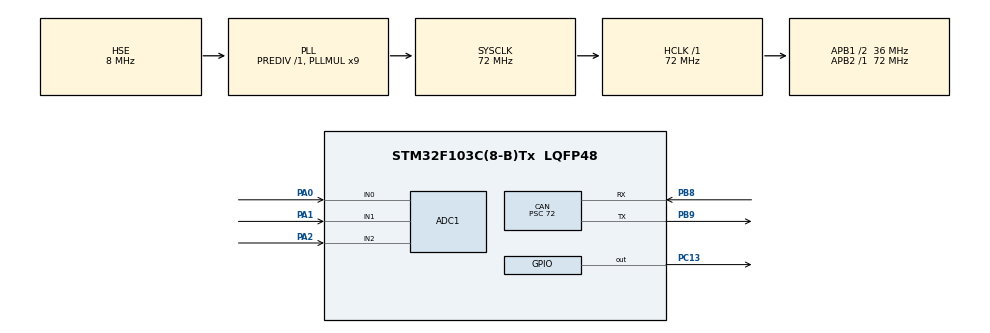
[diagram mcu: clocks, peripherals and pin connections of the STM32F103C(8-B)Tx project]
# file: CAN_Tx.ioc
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ADC1.Channel-0\#ChannelRegularConversion=ADC_CHANNEL_0
ADC1.NbrOfConversionFlag=1
ADC1.Rank-0\#ChannelRegularConversion=1
ADC1.SamplingTime-0\#ChannelRegularConversion=ADC_SAMPLETIME_1CYCLE_5
ADC1.master=1
CAN.BS1=CAN_BS1_2TQ
CAN.CalculateBaudRate=125000
CAN.CalculateTimeBit=8000
CAN.CalculateTimeQuantum=2000.0
CAN.Prescaler=72
Mcu.Family=STM32F1
Mcu.Name=STM32F103C(8-B)Tx
Mcu.Package=LQFP48
NVIC.PriorityGroup=NVIC_PRIORITYGROUP_4
PA0-WKUP.Signal=ADCx_IN0
PA1.Signal=ADCx_IN1
PA13.Mode=Serial_Wire
PA13.Signal=SYS_JTMS-SWDIO
PA14.Mode=Serial_Wire
PA14.Signal=SYS_JTCK-SWCLK
PA2.Signal=ADCx_IN2
PB8.Mode=CAN_Activate
PB8.Signal=CAN_RX
PB9.Mode=CAN_Activate
PB9.Signal=CAN_TX
PC13-TAMPER-RTC.Signal=GPIO_Output
PD0-OSC_IN.Mode=HSE-External-Oscillator
PD0-OSC_IN.Signal=RCC_OSC_IN
PD1-OSC_OUT.Mode=HSE-External-Oscillator
PD1-OSC_OUT.Signal=RCC_OSC_OUT
ProjectManager.HeapSize=0x200
ProjectManager.StackSize=0x400
ProjectManager.TargetToolchain=STM32CubeIDE
RCC.AHBFreq_Value=72000000
RCC.APB1CLKDivider=RCC_HCLK_DIV2
RCC.APB1Freq_Value=36000000
RCC.APB1TimFreq_Value=72000000
RCC.APB2Freq_Value=72000000
RCC.APB2TimFreq_Value=72000000
RCC.HCLKFreq_Value=72000000
RCC.PLLMUL=RCC_PLL_MUL9
RCC.PLLSourceVirtual=RCC_PLLSOURCE_HSE
RCC.SYSCLKFreq_VALUE=72000000
RCC.SYSCLKSource=RCC_SYSCLKSOURCE_PLLCLK
RCC.USBFreq_Value=72000000
SH.ADCx_IN0.0=ADC1_IN0,IN0
SH.ADCx_IN1.0=ADC1_IN1,IN1
SH.ADCx_IN2.0=ADC1_IN2,IN2
board=custom

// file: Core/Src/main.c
/* USER CODE BEGIN Header */
/**
 ******************************************************************************
 * @file           : main.c
 * @brief          : Main program body
 ******************************************************************************
 * @attention
 *
 * Copyright (c) 2024 STMicroelectronics.
 * All rights reserved.
 *
 * This software is licensed under terms that can be found in the LICENSE file
 * in the root directory of this software component.
 * If no LICENSE file comes with this software, it is provided AS-IS.
 *
 ******************************************************************************
 */
/* USER CODE END Header */
#include "main.h"

ADC_HandleTypeDef hadc1;

CAN_HandleTypeDef hcan;

void SystemClock_Config(void);
static void MX_GPIO_Init(void);
static void MX_CAN_Init(void);
static void MX_ADC1_Init(void);
/* USER CODE BEGIN PFP */
void configure_ADC_channel(uint8_t channel);
void convert_to_array(uint8_t channel, uint32_t adc_data);
/* USER CODE END PFP */

/* USER CODE BEGIN 0 */
uint16_t readValue;
CAN_TxHeaderTypeDef TxHeader;
uint32_t TxMailbox;
uint8_t TxData1[8] = { 0 };
uint8_t TxData2[8] = { 0 };
uint8_t TxData3[8] = { 0 };
/* USER CODE END 0 */

int main(void) {
	/* USER CODE BEGIN 1 */
	uint32_t adc_val = 0;
	/* USER CODE END 1 */

	/* MCU Configuration--------------------------------------------------------*/

	/* Reset of all peripherals, Initializes the Flash interface and the Systick. */
	HAL_Init();

	/* Configure the system clock */
	SystemClock_Config();

	/* Initialize all configured peripherals */
	MX_GPIO_Init();
	MX_CAN_Init();
	MX_ADC1_Init();
	/* USER CODE BEGIN 2 */

	HAL_CAN_Start(&hcan);
	TxHeader.DLC = 8;  // data length
	TxHeader.IDE = CAN_ID_STD;
	TxHeader.RTR = CAN_RTR_DATA;
	TxHeader.StdId = 0x6A5; // ID can be between Hex1 and Hex7FF (1-2047 decimal)
	/* USER CODE END 2 */

	/* Infinite loop */
	while (1) {

		/* USER CODE BEGIN 3 */
		for (int i = 0; i < 3; i++) {
			configure_ADC_channel(i);
			HAL_ADC_Start(&hadc1); // start the adc

			HAL_ADC_PollForConversion(&hadc1, 100); // poll for conversion

			adc_val = HAL_ADC_GetValue(&hadc1); // get the adc value

			HAL_ADC_Stop(&hadc1); // stop adc

			convert_to_array(i, adc_val);

			HAL_Delay(500);
		}

		HAL_GPIO_TogglePin(GPIOC, GPIO_PIN_13);
		HAL_CAN_AddTxMessage(&hcan, &TxHeader, TxData1, &TxMailbox);
		HAL_Delay(1000);
		HAL_GPIO_TogglePin(GPIOC, GPIO_PIN_13);
		HAL_CAN_AddTxMessage(&hcan, &TxHeader, TxData2, &TxMailbox);
		HAL_Delay(1000);
		HAL_GPIO_TogglePin(GPIOC, GPIO_PIN_13);
		HAL_CAN_AddTxMessage(&hcan, &TxHeader, TxData3, &TxMailbox);
		HAL_Delay(1000);
	}
	/* USER CODE END 3 */
}

void SystemClock_Config(void) {
	RCC_OscInitTypeDef RCC_OscInitStruct = { 0 };
	RCC_ClkInitTypeDef RCC_ClkInitStruct = { 0 };
	RCC_PeriphCLKInitTypeDef PeriphClkInit = { 0 };

	/** Initializes the RCC Oscillators according to the specified parameters
	 * in the RCC_OscInitTypeDef structure.
	 */
	RCC_OscInitStruct.OscillatorType = RCC_OSCILLATORTYPE_HSE;
	RCC_OscInitStruct.HSEState = RCC_HSE_ON;
	RCC_OscInitStruct.HSEPredivValue = RCC_HSE_PREDIV_DIV1;
	RCC_OscInitStruct.HSIState = RCC_HSI_ON;
	RCC_OscInitStruct.PLL.PLLState = RCC_PLL_ON;
	RCC_OscInitStruct.PLL.PLLSource = RCC_PLLSOURCE_HSE;
	RCC_OscInitStruct.PLL.PLLMUL = RCC_PLL_MUL9;
	if (HAL_RCC_OscConfig(&RCC_OscInitStruct) != HAL_OK) {
		Error_Handler();
	}

	/** Initializes the CPU, AHB and APB buses clocks
	 */
	RCC_ClkInitStruct.ClockType = RCC_CLOCKTYPE_HCLK | RCC_CLOCKTYPE_SYSCLK
			| RCC_CLOCKTYPE_PCLK1 | RCC_CLOCKTYPE_PCLK2;
	RCC_ClkInitStruct.SYSCLKSource = RCC_SYSCLKSOURCE_PLLCLK;
	RCC_ClkInitStruct.AHBCLKDivider = RCC_SYSCLK_DIV1;
	RCC_ClkInitStruct.APB1CLKDivider = RCC_HCLK_DIV2;
	RCC_ClkInitStruct.APB2CLKDivider = RCC_HCLK_DIV1;

	if (HAL_RCC_ClockConfig(&RCC_ClkInitStruct, FLASH_LATENCY_2) != HAL_OK) {
		Error_Handler();
	}
	PeriphClkInit.PeriphClockSelection = RCC_PERIPHCLK_ADC;
	PeriphClkInit.AdcClockSelection = RCC_ADCPCLK2_DIV2;
	if (HAL_RCCEx_PeriphCLKConfig(&PeriphClkInit) != HAL_OK) {
		Error_Handler();
	}
}

static void MX_ADC1_Init(void) {

	ADC_ChannelConfTypeDef sConfig = { 0 };

	/** Common config
	 */
	hadc1.Instance = ADC1;
	hadc1.Init.ScanConvMode = ADC_SCAN_DISABLE;
	hadc1.Init.ContinuousConvMode = DISABLE;
	hadc1.Init.DiscontinuousConvMode = DISABLE;
	hadc1.Init.ExternalTrigConv = ADC_SOFTWARE_START;
	hadc1.Init.DataAlign = ADC_DATAALIGN_RIGHT;
	hadc1.Init.NbrOfConversion = 1;
	if (HAL_ADC_Init(&hadc1) != HAL_OK) {
		Error_Handler();
	}

	/** Configure Regular Channel
	 */
	sConfig.Channel = ADC_CHANNEL_0;
	sConfig.Rank = ADC_REGULAR_RANK_1;
	sConfig.SamplingTime = ADC_SAMPLETIME_1CYCLE_5;
	if (HAL_ADC_ConfigChannel(&hadc1, &sConfig) != HAL_OK) {
		Error_Handler();
	}

}

static void MX_CAN_Init(void) {

	hcan.Instance = CAN1;
	hcan.Init.Prescaler = 72;
	hcan.Init.Mode = CAN_MODE_NORMAL;
	hcan.Init.SyncJumpWidth = CAN_SJW_1TQ;
	hcan.Init.TimeSeg1 = CAN_BS1_2TQ;
	hcan.Init.TimeSeg2 = CAN_BS2_1TQ;
	hcan.Init.TimeTriggeredMode = DISABLE;
	hcan.Init.AutoBusOff = DISABLE;
	hcan.Init.AutoWakeUp = DISABLE;
	hcan.Init.AutoRetransmission = DISABLE;
	hcan.Init.ReceiveFifoLocked = DISABLE;
	hcan.Init.TransmitFifoPriority = DISABLE;
	if (HAL_CAN_Init(&hcan) != HAL_OK) {
		Error_Handler();
	}

}

static void MX_GPIO_Init(void) {
	GPIO_InitTypeDef GPIO_InitStruct = { 0 };

	/* GPIO Ports Clock Enable */
	__HAL_RCC_GPIOC_CLK_ENABLE();
	__HAL_RCC_GPIOD_CLK_ENABLE();
	__HAL_RCC_GPIOA_CLK_ENABLE();
	__HAL_RCC_GPIOB_CLK_ENABLE();

	/*Configure GPIO pin Output Level */
	HAL_GPIO_WritePin(GPIOC, GPIO_PIN_13, GPIO_PIN_RESET);

	/*Configure GPIO pin : PC13 */
	GPIO_InitStruct.Pin = GPIO_PIN_13;
	GPIO_InitStruct.Mode = GPIO_MODE_OUTPUT_PP;
	GPIO_InitStruct.Pull = GPIO_NOPULL;
	GPIO_InitStruct.Speed = GPIO_SPEED_FREQ_LOW;
	HAL_GPIO_Init(GPIOC, &GPIO_InitStruct);

}

/* USER CODE BEGIN 4 */

void configure_ADC_channel(uint8_t channel) {
	ADC_ChannelConfTypeDef sConfig = { 0 };
	switch (channel) {
	case 0:
		sConfig.Channel = ADC_CHANNEL_0;
		break;
	case 1:
		sConfig.Channel = ADC_CHANNEL_1;
		break;
	case 2:
		sConfig.Channel = ADC_CHANNEL_2;
		break;
	default:
		sConfig.Channel = ADC_CHANNEL_0;
		break;

	}
	sConfig.Rank = ADC_REGULAR_RANK_1;
	sConfig.SamplingTime = ADC_SAMPLETIME_1CYCLE_5;
	if (HAL_ADC_ConfigChannel(&hadc1, &sConfig) != HAL_OK) {
		Error_Handler();
	}

}

void convert_to_array(uint8_t channel, uint32_t adc_val) {
	switch (channel) {
	case 0:

		TxData1[0] = (adc_val >> 24) & 0xFF;
		TxData1[1] = (adc_val >> 16) & 0xFF;
		TxData1[2] = (adc_val >> 8) & 0xFF;
		TxData1[3] = adc_val & 0xFF;
		TxData1[5] = 1;
		break;
	case 1:

		TxData2[0] = (adc_val >> 24) & 0xFF;
		TxData2[1] = (adc_val >> 16) & 0xFF;
		TxData2[2] = (adc_val >> 8) & 0xFF;
		TxData2[3] = adc_val & 0xFF;
		TxData2[5] = 2;
		break;
	case 2:

		TxData3[0] = (adc_val >> 24) & 0xFF;
		TxData3[1] = (adc_val >> 16) & 0xFF;
		TxData3[2] = (adc_val >> 8) & 0xFF;
		TxData3[3] = adc_val & 0xFF;
		TxData3[5] = 3;
		break;
	default:
		break;

	}
}

/* USER CODE END 4 */

void Error_Handler(void) {
	__disable_irq();
	while (1) {
	}
}
